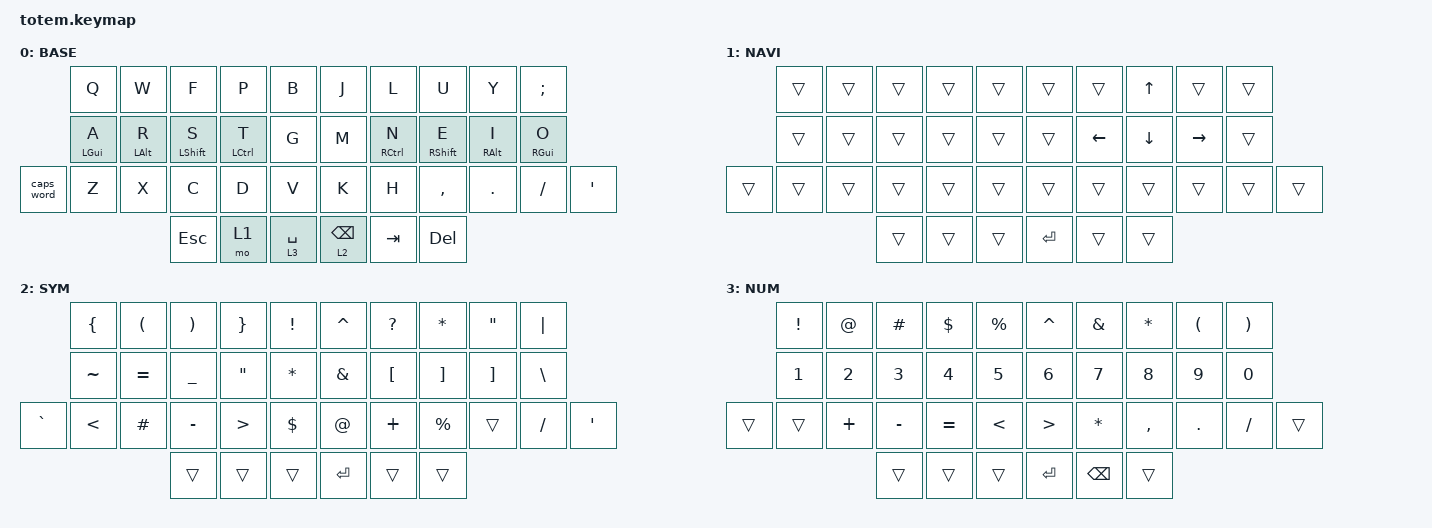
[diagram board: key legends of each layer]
//
//                                                        ▀▀▀▀▀     ▀▀▀▀▀          ▀▀█▀▀
//                                                        ▄▀▀▀▄  ▄  ▄▀▀▀▄  ▄  ▄▀▀▀▄  █  ▄▀▀▀▄
//                                                        █   █  █  █   █  █  █   █  █  █   █
//                                                         ▀▀▀   █   ▀▀▀   █   ▀▀▀   ▀   ▀▀▀
//                                                               █      ▄▄▄█▄▄▄    █   █  
//                                                               ▀      █  █  █     █▄█
//                                                             ▀▀▀▀▀    █  █  █      ▀
//                                                                      ▀  ▀  ▀
//
// ▄▄▄▄▄▄▄▄▄▄▄▄▄▄▄▄▄▄▄▄▄▄▄▄▄▄▄▄▄▄▄▄▄▄▄▄▄▄▄▄▄▄▄▄▄▄▄▄▄▄▄▄▄▄▄▄▄▄▄▄▄▄▄▄▄▄▄▄▄▄▄▄▄▄▄▄▄▄▄▄▄▄▄▄▄▄▄▄▄▄▄▄▄▄▄▄▄▄▄▄▄▄▄▄▄▄▄▄▄▄▄▄▄▄▄▄▄▄▄▄▄▄▄▄▄▄▄▄▄▄▄▄▄▄▄▄▄▄▄▄▄▄▄▄▄▄▄▄▄

#include <behaviors.dtsi>
#include <dt-bindings/zmk/keys.h>

#define BASE 0
#define NAV  1
#define SYM  2
#define ADJ  3
#define TVP1 4
#define TVP2 5

&mt {
    quick-tap-ms = <200>;
    flavor = "balanced";
    tapping-term-ms = <280>;
    require-prior-idle-ms = <150>;
    hold-trigger-on-release;
};

/ {
    combos { compatible = "zmk,combos"; };

    keymap {
        compatible = "zmk,keymap";

        // ▄▄▄▄▄▄▄▄▄▄▄▄▄▄▄▄▄▄▄▄▄▄▄▄▄▄▄▄▄▄▄▄▄▄▄▄▄▄▄▄▄▄▄▄▄▄▄▄▄▄▄▄▄▄▄▄▄▄▄▄▄▄▄▄▄▄▄▄▄▄▄▄▄▄▄▄▄▄▄▄▄▄▄▄▄▄▄▄▄▄▄▄▄▄▄▄▄▄▄▄▄▄▄▄▄▄▄▄▄▄▄▄▄▄▄▄▄▄▄▄▄▄▄▄▄▄▄▄▄▄▄▄▄▄▄▄▄▄▄▄▄▄▄▄▄▄▄▄▄

        base_layer {
            // ┏━━━━━━━━━━━━━━━━━━━━━━━━━━━━━━━━━━━━━━━┓

            label = "BASE";

            // ┗━━━━━━━━━━━━━━━━━━━━━━━━━━━━━━━━━━━━━━━┛
            //             ┏━━━━━━━━━━━┳━━━━━━━━━━━┳━━━━━━━━━━━┳━━━━━━━━━━━┳━━━━━━━━━━━┓   ┏━━━━━━━━━━━┳━━━━━━━━━━━┳━━━━━━━━━━━┳━━━━━━━━━━━┳━━━━━━━━━━━┓
            //             ┃     Q     ┃     W     ┃     F     ┃     P     ┃     B     ┃   ┃     J     ┃     L     ┃     U     ┃     Y     ┃     ;     ┃
            //             ┣━━━━━━━━━━━╋━━━━━━━━━━━╋━━━━━━━━━━━╋━━━━━━━━━━━╋━━━━━━━━━━━┫   ┣━━━━━━━━━━━╋━━━━━━━━━━━╋━━━━━━━━━━━╋━━━━━━━━━━━╋━━━━━━━━━━━┫
            //             ┃     A     ┃     R     ┃     S     ┃     T     ┃     G     ┃   ┃     M     ┃     N     ┃     E     ┃     I     ┃     O     ┃
            // ┏━━━━━━━━━━━╋━━━━━━━━━━━╋━━━━━━━━━━━╋━━━━━━━━━━━╋━━━━━━━━━━━╋━━━━━━━━━━━┫   ┣━━━━━━━━━━━╋━━━━━━━━━━━╋━━━━━━━━━━━╋━━━━━━━━━━━╋━━━━━━━━━━━╋━━━━━━━━━━━┓
            // ┃     Q     ┃     Z     ┃     X     ┃     C     ┃     D     ┃     V     ┃   ┃     K     ┃     H     ┃     ,     ┃     .     ┃     /     ┃     \     ┃
            // ┗━━━━━━━━━━━┻━━━━━━━━━━━┻━━━━━━━━━━━╋━━━━━━━━━━━╋━━━━━━━━━━━╋━━━━━━━━━━━┫   ┣━━━━━━━━━━━╋━━━━━━━━━━━╋━━━━━━━━━━━╋━━━━━━━━━━━┻━━━━━━━━━━━┻━━━━━━━━━━━┛
            //                                     ┃    SPC    ┃    ESC    ┃    SPC    ┃   ┃   BSPC    ┃    RET    ┃    TAB    ┃
            //                                     ┗━━━━━━━━━━━┻━━━━━━━━━━━┻━━━━━━━━━━━┛   ┗━━━━━━━━━━━┻━━━━━━━━━━━┻━━━━━━━━━━━┛

            bindings = <
            &kp Q       &kp W       &kp F        &kp P        &kp B          &kp J            &kp L        &kp U        &kp Y       &kp SEMI
            &mt LGUI A  &mt LALT R  &mt LSHFT S  &mt LCTRL T  &kp G          &kp M            &mt RCTRL N  &mt RSHFT E  &mt RALT I  &mt RGUI O
&caps_word  &kp Z       &kp X       &kp C        &kp D        &kp V          &kp K            &kp H        &kp COMMA    &kp DOT     &kp FSLH    &kp SINGLE_QUOTE
                                    &kp ESC      &mo 1        &lt 3 SPACE    &lt 2 BACKSPACE  &kp TAB      &kp DELETE
            >;
        };

        // ▄▄▄▄▄▄▄▄▄▄▄▄▄▄▄▄▄▄▄▄▄▄▄▄▄▄▄▄▄▄▄▄▄▄▄▄▄▄▄▄▄▄▄▄▄▄▄▄▄▄▄▄▄▄▄▄▄▄▄▄▄▄▄▄▄▄▄▄▄▄▄▄▄▄▄▄▄▄▄▄▄▄▄▄▄▄▄▄▄▄▄▄▄▄▄▄▄▄▄▄▄▄▄▄▄▄▄▄▄▄▄▄▄▄▄▄▄▄▄▄▄▄▄▄▄▄▄▄▄▄▄▄▄▄▄▄▄▄▄▄▄▄▄▄▄▄▄▄▄

        nav_layer {
            // ┏━━━━━━━━━━━━━━━━━━━━━━━━━━━━━━━━━━━━━━━┓

            label = "NAVI";

            // ┗━━━━━━━━━━━━━━━━━━━━━━━━━━━━━━━━━━━━━━━┛
            //             ┏━━━━━━━━━━━┳━━━━━━━━━━━┳━━━━━━━━━━━┳━━━━━━━━━━━┳━━━━━━━━━━━┓   ┏━━━━━━━━━━━┳━━━━━━━━━━━┳━━━━━━━━━━━┳━━━━━━━━━━━┳━━━━━━━━━━━┓
            //             ┃           ┃           ┃     UP    ┃           ┃     {     ┃   ┃     }     ┃     7     ┃     8     ┃     9     ┃     +     ┃
            //             ┣━━━━━━━━━━━╋━━━━━━━━━━━╋━━━━━━━━━━━╋━━━━━━━━━━━╋━━━━━━━━━━━┫   ┣━━━━━━━━━━━╋━━━━━━━━━━━╋━━━━━━━━━━━╋━━━━━━━━━━━╋━━━━━━━━━━━┫
            //             ┃   SHIFT   ┃   LEFT    ┃    DOWN   ┃   RIGHT   ┃     [     ┃   ┃     ]     ┃     4     ┃     5     ┃     6     ┃     -     ┃
            // ┏━━━━━━━━━━━╋━━━━━━━━━━━╋━━━━━━━━━━━╋━━━━━━━━━━━╋━━━━━━━━━━━╋━━━━━━━━━━━┫   ┣━━━━━━━━━━━╋━━━━━━━━━━━╋━━━━━━━━━━━╋━━━━━━━━━━━╋━━━━━━━━━━━╋━━━━━━━━━━━┓
            // ┃           ┃           ┃   P UP    ┃  C LOCK   ┃  P DOWN   ┃     (     ┃   ┃     )     ┃     1     ┃     2     ┃     3     ┃     *     ┃           ┃
            // ┗━━━━━━━━━━━┻━━━━━━━━━━━┻━━━━━━━━━━━╋━━━━━━━━━━━╋━━━━━━━━━━━╋━━━━━━━━━━━┫   ┣━━━━━━━━━━━╋━━━━━━━━━━━╋━━━━━━━━━━━╋━━━━━━━━━━━┻━━━━━━━━━━━┻━━━━━━━━━━━┛
            //                                     ┃           ┃    TAB    ┃    SPC    ┃   ┃    DEL    ┃     0     ┃           ┃
            //                                     ┗━━━━━━━━━━━┻━━━━━━━━━━━┻━━━━━━━━━━━┛   ┗━━━━━━━━━━━┻━━━━━━━━━━━┻━━━━━━━━━━━┛

            bindings = <
        &trans  &trans  &trans  &trans  &trans    &trans   &trans    &kp UP_ARROW  &trans     &trans
        &trans  &trans  &trans  &trans  &trans    &trans   &kp LEFT  &kp DOWN      &kp RIGHT  &trans
&trans  &trans  &trans  &trans  &trans  &trans    &trans   &trans    &trans        &trans     &trans  &trans
                        &trans  &trans  &trans    &kp RET  &trans    &trans
            >;
        };

        // ▄▄▄▄▄▄▄▄▄▄▄▄▄▄▄▄▄▄▄▄▄▄▄▄▄▄▄▄▄▄▄▄▄▄▄▄▄▄▄▄▄▄▄▄▄▄▄▄▄▄▄▄▄▄▄▄▄▄▄▄▄▄▄▄▄▄▄▄▄▄▄▄▄▄▄▄▄▄▄▄▄▄▄▄▄▄▄▄▄▄▄▄▄▄▄▄▄▄▄▄▄▄▄▄▄▄▄▄▄▄▄▄▄▄▄▄▄▄▄▄▄▄▄▄▄▄▄▄▄▄▄▄▄▄▄▄▄▄▄▄▄▄▄▄▄▄▄▄▄

        sym_layer {
            // ┏━━━━━━━━━━━━━━━━━━━━━━━━━━━━━━━━━━━━━━━┓

            label = "SYM";

            // ┗━━━━━━━━━━━━━━━━━━━━━━━━━━━━━━━━━━━━━━━┛
            //             ┏━━━━━━━━━━━┳━━━━━━━━━━━┳━━━━━━━━━━━┳━━━━━━━━━━━┳━━━━━━━━━━━┓   ┏━━━━━━━━━━━┳━━━━━━━━━━━┳━━━━━━━━━━━┳━━━━━━━━━━━┳━━━━━━━━━━━┓
            //             ┃     !     ┃     @     ┃     #     ┃     $     ┃     %     ┃   ┃     ˆ     ┃     &     ┃     Ü     ┃     '     ┃     "     ┃
            //             ┣━━━━━━━━━━━╋━━━━━━━━━━━╋━━━━━━━━━━━╋━━━━━━━━━━━╋━━━━━━━━━━━┫   ┣━━━━━━━━━━━╋━━━━━━━━━━━╋━━━━━━━━━━━╋━━━━━━━━━━━╋━━━━━━━━━━━┫
            //             ┃     Ä     ┃           ┃    SZ     ┃           ┃           ┃   ┃   MUTE    ┃   YEN     ┃   EURO    ┃  POUND    ┃     Ö     ┃
            // ┏━━━━━━━━━━━╋━━━━━━━━━━━╋━━━━━━━━━━━╋━━━━━━━━━━━╋━━━━━━━━━━━╋━━━━━━━━━━━┫   ┣━━━━━━━━━━━╋━━━━━━━━━━━╋━━━━━━━━━━━╋━━━━━━━━━━━╋━━━━━━━━━━━╋━━━━━━━━━━━┓
            // ┃           ┃  EMAIL1   ┃  EMAIL2   ┃           ┃           ┃           ┃   ┃   VOL-    ┃   VOL+    ┃   LAST    ┃   NEXT    ┃     \     ┃           ┃
            // ┗━━━━━━━━━━━┻━━━━━━━━━━━┻━━━━━━━━━━━╋━━━━━━━━━━━╋━━━━━━━━━━━╋━━━━━━━━━━━┫   ┣━━━━━━━━━━━╋━━━━━━━━━━━╋━━━━━━━━━━━╋━━━━━━━━━━━┻━━━━━━━━━━━┻━━━━━━━━━━━┛
            //                                     ┃           ┃    GIF    ┃    ADJ    ┃   ┃           ┃           ┃           ┃
            //                                     ┗━━━━━━━━━━━┻━━━━━━━━━━━┻━━━━━━━━━━━┛   ┗━━━━━━━━━━━┻━━━━━━━━━━━┻━━━━━━━━━━━┛

            bindings = <
           &kp LEFT_BRACE  &kp LEFT_PARENTHESIS  &kp RIGHT_PARENTHESIS  &kp RIGHT_BRACE    &kp EXCL      &kp CARET  &kp QUESTION      &kp ASTERISK       &kp DOUBLE_QUOTES  &kp PIPE
           &kp TILDE       &kp EQUAL             &kp UNDER              &kp DOUBLE_QUOTES  &kp ASTRK     &kp AMPS   &kp LEFT_BRACKET  &kp RIGHT_BRACKET  &kp RIGHT_BRACKET  &kp BACKSLASH
&kp GRAVE  &kp LESS_THAN   &kp HASH              &kp MINUS              &kp GREATER_THAN   &kp DOLLAR    &kp AT     &kp PLUS          &kp PERCENT        &trans             &kp SLASH      &kp SINGLE_QUOTE
                                                 &trans                 &trans             &trans        &kp ENTER  &trans            &trans
            >;
        };

        // ▄▄▄▄▄▄▄▄▄▄▄▄▄▄▄▄▄▄▄▄▄▄▄▄▄▄▄▄▄▄▄▄▄▄▄▄▄▄▄▄▄▄▄▄▄▄▄▄▄▄▄▄▄▄▄▄▄▄▄▄▄▄▄▄▄▄▄▄▄▄▄▄▄▄▄▄▄▄▄▄▄▄▄▄▄▄▄▄▄▄▄▄▄▄▄▄▄▄▄▄▄▄▄▄▄▄▄▄▄▄▄▄▄▄▄▄▄▄▄▄▄▄▄▄▄▄▄▄▄▄▄▄▄▄▄▄▄▄▄▄▄▄▄▄▄▄▄▄▄

        num_layer {
            // ┏━━━━━━━━━━━━━━━━━━━━━━━━━━━━━━━━━━━━━━━┓

            label = "NUM";

            // ┗━━━━━━━━━━━━━━━━━━━━━━━━━━━━━━━━━━━━━━━┛
            //             ┏━━━━━━━━━━━┳━━━━━━━━━━━┳━━━━━━━━━━━┳━━━━━━━━━━━┳━━━━━━━━━━━┓   ┏━━━━━━━━━━━┳━━━━━━━━━━━┳━━━━━━━━━━━┳━━━━━━━━━━━┳━━━━━━━━━━━┓
            //             ┃   RESET   ┃ BT CLEAR  ┃  OUT TOG  ┃           ┃           ┃   ┃           ┃    F7     ┃    F8     ┃    F9     ┃    F12    ┃
            //             ┣━━━━━━━━━━━╋━━━━━━━━━━━╋━━━━━━━━━━━╋━━━━━━━━━━━╋━━━━━━━━━━━┫   ┣━━━━━━━━━━━╋━━━━━━━━━━━╋━━━━━━━━━━━╋━━━━━━━━━━━╋━━━━━━━━━━━┫
            //             ┃ BOOTLOAD  ┃ BT NEXT   ┃           ┃           ┃           ┃   ┃           ┃    F4     ┃    F5     ┃    F6     ┃    F11    ┃
            // ┏━━━━━━━━━━━╋━━━━━━━━━━━╋━━━━━━━━━━━╋━━━━━━━━━━━╋━━━━━━━━━━━╋━━━━━━━━━━━┫   ┣━━━━━━━━━━━╋━━━━━━━━━━━╋━━━━━━━━━━━╋━━━━━━━━━━━╋━━━━━━━━━━━╋━━━━━━━━━━━┓
            // ┃           ┃           ┃ BT PREV   ┃           ┃           ┃           ┃   ┃           ┃    F1     ┃    F2     ┃    F3     ┃    F10    ┃           ┃
            // ┗━━━━━━━━━━━┻━━━━━━━━━━━┻━━━━━━━━━━━╋━━━━━━━━━━━╋━━━━━━━━━━━╋━━━━━━━━━━━┫   ┣━━━━━━━━━━━╋━━━━━━━━━━━╋━━━━━━━━━━━╋━━━━━━━━━━━┻━━━━━━━━━━━┻━━━━━━━━━━━┛
            //                                     ┃           ┃           ┃           ┃   ┃           ┃           ┃           ┃
            //                                     ┗━━━━━━━━━━━┻━━━━━━━━━━━┻━━━━━━━━━━━┛   ┗━━━━━━━━━━━┻━━━━━━━━━━━┻━━━━━━━━━━━┛

            bindings = <
        &kp EXCL  &kp AT_SIGN  &kp HASH   &kp DOLLAR  &kp PERCENT      &kp CARET         &kp AMPS       &kp ASTRK     &kp LEFT_PARENTHESIS  &kp RIGHT_PARENTHESIS
        &kp N1    &kp N2       &kp N3     &kp N4      &kp NUMBER_5     &kp N6            &kp NUMBER_7   &kp NUMBER_8  &kp NUMBER_9          &kp NUMBER_0
&trans  &trans    &kp PLUS     &kp MINUS  &kp EQUAL   &kp LESS_THAN    &kp GREATER_THAN  &kp ASTRK      &kp COMMA     &kp PERIOD            &kp SLASH              &trans
                               &trans     &trans      &trans           &kp ENTER         &kp BACKSPACE  &trans
            >;
        };

        // ▄▄▄▄▄▄▄▄▄▄▄▄▄▄▄▄▄▄▄▄▄▄▄▄▄▄▄▄▄▄▄▄▄▄▄▄▄▄▄▄▄▄▄▄▄▄▄▄▄▄▄▄▄▄▄▄▄▄▄▄▄▄▄▄▄▄▄▄▄▄▄▄▄▄▄▄▄▄▄▄▄▄▄▄▄▄▄▄▄▄▄▄▄▄▄▄▄▄▄▄▄▄▄▄▄▄▄▄▄▄▄▄▄▄▄▄▄▄▄▄▄▄▄▄▄▄▄▄▄▄▄▄▄▄▄▄▄▄▄▄▄▄▄▄▄▄▄▄▄
        // ▄▄▄▄▄▄▄▄▄▄▄▄▄▄▄▄▄▄▄▄▄▄▄▄▄▄▄▄▄▄▄▄▄▄▄▄▄▄▄▄▄▄▄▄▄▄▄▄▄▄▄▄▄▄▄▄▄▄▄▄▄▄▄▄▄▄▄▄▄▄▄▄▄▄▄▄▄▄▄▄▄▄▄▄▄▄▄▄▄▄▄▄▄▄▄▄▄▄▄▄▄▄▄▄▄▄▄▄▄▄▄▄▄▄▄▄▄▄▄▄▄▄▄▄▄▄▄▄▄▄▄▄▄▄▄▄▄▄▄▄▄▄▄▄▄▄▄▄▄
    };
};
